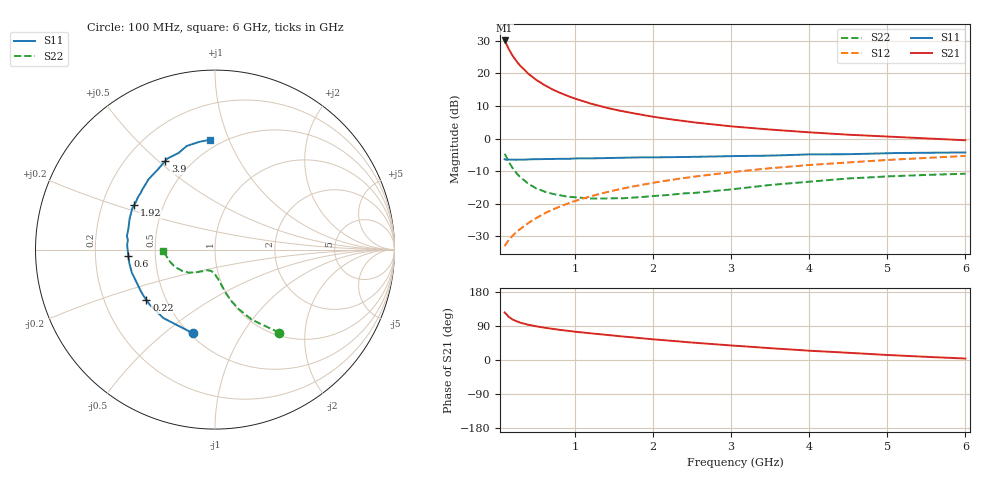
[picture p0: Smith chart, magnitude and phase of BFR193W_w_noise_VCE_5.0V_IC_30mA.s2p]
! Infineon Technologies  Discrete & RF Semiconductors
! BFR193W
! VCE =  5.0 V,  IC =  30 mA
! Common Emitter S-Parameters:  Nov 2015
# GHz  S  MA  R  50
!  f  S11  S21  S12  S22
! GHz  MAG  ANG  MAG  ANG  MAG  ANG  MAG  ANG
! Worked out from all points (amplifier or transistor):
!   192 points, 100 MHz to 6 GHz, reference 50 ohm
!   highest |S21| = 30.1 dB at 100 MHz (marker M1)
!   |S21| within 3 dB of that: start of sweep to 162 MHz
!   unconditionally stable (mu >= 1): 672.4 MHz to 2.518 GHz
!   at 440 MHz: K = 0.93, MSG = 22.3 dB, |S12| = -25.3 dB
!   at 1.7 GHz: K = 1.02, MAG = 10.5 dB, |S12| = -14.9 dB
!   at 6 GHz: K = 0.91, MSG = 2.4 dB, |S12| = -5.3 dB
!   lowest NFmin = 1.90 dB at 450 MHz
!   S11 on the Smith chart (normalised r, x): 100 MHz: 0.52, -0.63; 220 MHz: 0.39, -0.28; 600 MHz: 0.35, -0.03; 1.92 GHz: 0.34, +0.23; 3.9 GHz: 0.36, +0.53; 6 GHz: 0.44, +0.86
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0.1  0.4819 -104.9  31.91 125.4  0.0224 59.1  0.5861 -52.2
0.15  0.4778 -127.1  23.83 114.1  0.0275 58.2  0.4429 -62.2
0.2  0.4761 -140.0  18.78 106.9  0.0321 59.3  0.3554 -68.4
0.22  0.4742 -143.6  17.41 105.2  0.0339 59.9  0.331 -70.0
0.24  0.4741 -147.2  16.06 103.2  0.0358 60.4  0.3068 -71.8
0.26  0.474 -150.2  14.92 101.5  0.0376 61.2  0.2872 -73.3
0.3  0.4731 -155.2  13.04 98.4  0.041 62.8  0.2564 -75.4
0.4  0.4809 -164.7  9.919 93.0  0.0503 65.3  0.2038 -79.6
0.5  0.4833 -170.6  8.009 88.9  0.06 67.5  0.1733 -82.6
0.6  0.4844 -175.7  6.715 85.5  0.0701 68.6  0.155 -86.2
0.7  0.4861 -179.5  5.758 82.5  0.08 69.3  0.143 -88.4
0.8  0.4901 177.0  5.073 79.7  0.0899 69.8  0.1357 -91.2
0.9  0.4884 173.9  4.517 77.2  0.1 70.0  0.1287 -93.1
1.1  0.4961 168.5  3.765 72.7  0.1201 69.6  0.123 -97.9
1.4  0.5035 161.6  2.974 66.3  0.15 68.5  0.1205 -104.8
1.92  0.514 151.1  2.244 56.2  0.2017 65.6  0.1289 -115.1
2.08  0.516 147.9  2.091 53.3  0.2174 64.5  0.1334 -117.3
3.1  0.5402 131.7  1.505 37.0  0.3138 56.6  0.1715 -132.1
3.9  0.5666 119.3  1.271 25.9  0.3846 49.7  0.2132 -145.7
4.1  0.5723 116.3  1.226 23.5  0.4005 48.0  0.2231 -149.4
5.1  0.5995 103.8  1.058 12.3  0.4768 39.7  0.2655 -168.1
6  0.6128 92.6  0.942 3.8  0.5413 32.2  0.2889 -178.9
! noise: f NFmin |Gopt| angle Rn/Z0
0.45  1.9  0.4  180  0.09
0.9  1.95  0.43  -173  0.11
1.8  2.4  0.58  -144  0.24
